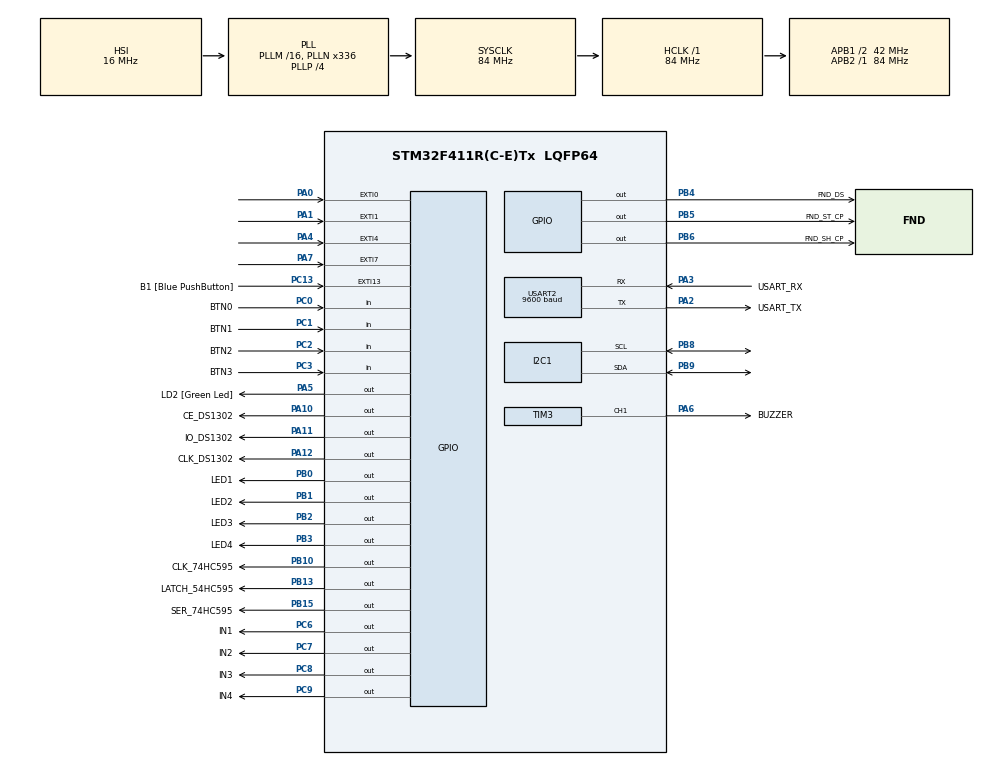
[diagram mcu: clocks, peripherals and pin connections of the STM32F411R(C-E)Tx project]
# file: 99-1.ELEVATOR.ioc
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FREERTOS.Tasks01=defaultTask,24,128,StartDefaultTask,Default,NULL,Dynamic,NULL,NULL;myTask02,8,128,StartTask02,Default,NULL,Dynamic,NULL,NULL;myTask03,8,128,StartTask03,Default,NULL,Dynamic,NULL,NULL;myTask04,8,128,StartTask04,Default,NULL,Dynamic,NULL,NULL
FREERTOS.configUSE_NEWLIB_REENTRANT=1
Mcu.Family=STM32F4
Mcu.Name=STM32F411R(C-E)Tx
Mcu.Package=LQFP64
NVIC.EXTI0_IRQn=true\:5\:0\:false\:false\:true\:true\:true\:true
NVIC.EXTI1_IRQn=true\:5\:0\:false\:false\:true\:true\:true\:true
NVIC.EXTI4_IRQn=true\:5\:0\:false\:false\:true\:true\:true\:true
NVIC.EXTI9_5_IRQn=true\:5\:0\:false\:false\:true\:true\:true\:true
NVIC.PriorityGroup=NVIC_PRIORITYGROUP_4
NVIC.TIM1_TRG_COM_TIM11_IRQn=true\:5\:0\:false\:false\:true\:true\:true\:true
NVIC.TIM1_UP_TIM10_IRQn=true\:15\:0\:false\:false\:true\:false\:false\:true
NVIC.TIM3_IRQn=true\:5\:0\:false\:false\:true\:true\:true\:true
NVIC.TIM5_IRQn=true\:5\:0\:false\:false\:true\:true\:true\:true
NVIC.TimeBase=TIM1_UP_TIM10_IRQn
NVIC.TimeBaseIP=TIM10
NVIC.USART2_IRQn=true\:5\:0\:false\:false\:true\:true\:true\:true
PA0-WKUP.Signal=GPXTI0
PA1.Signal=GPXTI1
PA10.GPIO_Label=CE_DS1302
PA10.Signal=GPIO_Output
PA11.GPIO_Label=IO_DS1302
PA11.Signal=GPIO_Output
PA12.GPIO_Label=CLK_DS1302
PA12.Signal=GPIO_Output
PA13.GPIO_Label=TMS
PA13.Mode=Serial_Wire
PA13.Signal=SYS_JTMS-SWDIO
PA14.GPIO_Label=TCK
PA14.Mode=Serial_Wire
PA14.Signal=SYS_JTCK-SWCLK
PA2.GPIO_Label=USART_TX
PA2.Mode=Asynchronous
PA2.Signal=USART2_TX
PA3.GPIO_Label=USART_RX
PA3.Mode=Asynchronous
PA3.Signal=USART2_RX
PA4.Signal=GPXTI4
PA5.GPIO_Label=LD2 [Green Led]
PA5.Signal=GPIO_Output
PA6.GPIO_Label=BUZZER
PA6.Signal=S_TIM3_CH1
PA7.Signal=GPXTI7
PB0.GPIO_Label=LED1
PB0.Signal=GPIO_Output
PB1.GPIO_Label=LED2
PB1.Signal=GPIO_Output
PB10.GPIO_Label=CLK_74HC595
PB10.Signal=GPIO_Output
PB13.GPIO_Label=LATCH_54HC595
PB13.Signal=GPIO_Output
PB15.GPIO_Label=SER_74HC595
PB15.Signal=GPIO_Output
PB2.GPIO_Label=LED3
PB2.Signal=GPIO_Output
PB3.GPIO_Label=LED4
PB3.Signal=GPIO_Output
PB4.GPIO_Label=FND_DS
PB4.Signal=GPIO_Output
PB5.GPIO_Label=FND_ST_CP
PB5.Signal=GPIO_Output
PB6.GPIO_Label=FND_SH_CP
PB6.Signal=GPIO_Output
PB8.Mode=I2C
PB8.Signal=I2C1_SCL
PB9.Mode=I2C
PB9.Signal=I2C1_SDA
PC0.GPIO_Label=BTN0
PC0.Signal=GPIO_Input
PC1.GPIO_Label=BTN1
PC1.Signal=GPIO_Input
PC13-ANTI_TAMP.GPIO_Label=B1 [Blue PushButton]
PC13-ANTI_TAMP.GPIO_ModeDefaultEXTI=GPIO_MODE_IT_FALLING
PC13-ANTI_TAMP.Signal=GPXTI13
PC14-OSC32_IN.Mode=LSE-External-Oscillator
PC14-OSC32_IN.Signal=RCC_OSC32_IN
PC15-OSC32_OUT.Mode=LSE-External-Oscillator
PC15-OSC32_OUT.Signal=RCC_OSC32_OUT
PC2.GPIO_Label=BTN2
PC2.Signal=GPIO_Input
PC3.GPIO_Label=BTN3
PC3.Signal=GPIO_Input
PC6.GPIO_Label=IN1
PC6.Signal=GPIO_Output
PC7.GPIO_Label=IN2
PC7.Signal=GPIO_Output
PC8.GPIO_Label=IN3
PC8.Signal=GPIO_Output
PC9.GPIO_Label=IN4
PC9.Signal=GPIO_Output
PH0\ -\ OSC_IN.Mode=HSE-External-Clock-Source
PH0\ -\ OSC_IN.Signal=RCC_OSC_IN
PH1\ -\ OSC_OUT.Mode=HSE-External-Clock-Source
PH1\ -\ OSC_OUT.Signal=RCC_OSC_OUT
ProjectManager.HeapSize=0x200
ProjectManager.StackSize=0x400
ProjectManager.TargetToolchain=STM32CubeIDE
RCC.48MHZClocksFreq_Value=84000000
RCC.AHBFreq_Value=84000000
RCC.APB1CLKDivider=RCC_HCLK_DIV2
RCC.APB1Freq_Value=42000000
RCC.APB1TimFreq_Value=84000000
RCC.APB2Freq_Value=84000000
RCC.APB2TimFreq_Value=84000000
RCC.CortexFreq_Value=84000000
RCC.FLatency-AdvancedSettings=FLASH_LATENCY_2
RCC.HCLKFreq_Value=84000000
RCC.HSE_VALUE=8000000
RCC.HSI_VALUE=16000000
RCC.PLLN=336
RCC.PLLP=RCC_PLLP_DIV4
RCC.SYSCLKFreq_VALUE=84000000
RCC.SYSCLKSource=RCC_SYSCLKSOURCE_PLLCLK
RCC.VCOOutputFreq_Value=336000000
SH.S_TIM3_CH1.0=TIM3_CH1,PWM Generation1 CH1
TIM11.Period=1000-1
TIM11.Prescaler=84-1
TIM2.Prescaler=84-1
TIM3.Channel-PWM\ Generation1\ CH1=TIM_CHANNEL_1
TIM3.Period=400-1
TIM3.Prescaler=52.5-1
TIM3.Pulse-PWM\ Generation1\ CH1=200-1
TIM5.Period=1000-1
TIM5.Prescaler=1680-1
USART2.BaudRate=9600
USART2.VirtualMode=VM_ASYNC
VP_FREERTOS_VS_CMSIS_V2.Mode=CMSIS_V2
VP_SYS_VS_tim10.Mode=TIM10
VP_TIM11_VS_ClockSourceINT.Mode=Enable_Timer
VP_TIM2_VS_ClockSourceINT.Mode=Internal
VP_TIM3_VS_ClockSourceINT.Mode=Internal
VP_TIM5_VS_ClockSourceINT.Mode=Internal
board=NUCLEO-F411RE

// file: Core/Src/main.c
/* USER CODE BEGIN Header */
/**
  ******************************************************************************
  * @file           : main.c
  * @brief          : Main program body
  ******************************************************************************
  * @attention
  *
  * <h2><center>&copy; Copyright (c) 2025 STMicroelectronics.
  * All rights reserved.</center></h2>
  *
  * This software component is licensed by ST under BSD 3-Clause license,
  * the "License"; You may not use this file except in compliance with the
  * License. You may obtain a copy of the License at:
  *                        opensource.org/licenses/BSD-3-Clause
  *
  ******************************************************************************
  */
/* USER CODE END Header */
#include "main.h"
#include "cmsis_os.h"

/* USER CODE BEGIN Includes */
#include "extern.h"
/* USER CODE END Includes */

I2C_HandleTypeDef hi2c1;

TIM_HandleTypeDef htim2;
TIM_HandleTypeDef htim3;
TIM_HandleTypeDef htim5;
TIM_HandleTypeDef htim11;

UART_HandleTypeDef huart2;

/* Definitions for defaultTask */
osThreadId_t defaultTaskHandle;
const osThreadAttr_t defaultTask_attributes = {
  .name = "defaultTask",
  .stack_size = 128 * 4,
  .priority = (osPriority_t) osPriorityNormal,
};
/* Definitions for myTask02 */
osThreadId_t myTask02Handle;
const osThreadAttr_t myTask02_attributes = {
  .name = "myTask02",
  .stack_size = 128 * 4,
  .priority = (osPriority_t) osPriorityLow,
};
/* Definitions for myTask03 */
osThreadId_t myTask03Handle;
const osThreadAttr_t myTask03_attributes = {
  .name = "myTask03",
  .stack_size = 128 * 4,
  .priority = (osPriority_t) osPriorityLow,
};
/* Definitions for myTask04 */
osThreadId_t myTask04Handle;
const osThreadAttr_t myTask04_attributes = {
  .name = "myTask04",
  .stack_size = 128 * 4,
  .priority = (osPriority_t) osPriorityLow,
};
/* USER CODE BEGIN PV */
uint8_t rx_data;   // uart2 rx byte
volatile int TIM11_1ms_counter=0;
/* USER CODE END PV */

void SystemClock_Config(void);
static void MX_GPIO_Init(void);
static void MX_USART2_UART_Init(void);
static void MX_TIM11_Init(void);
static void MX_TIM2_Init(void);
static void MX_I2C1_Init(void);
static void MX_TIM3_Init(void);
static void MX_TIM5_Init(void);
void StartDefaultTask(void *argument);
void StartTask02(void *argument);
void StartTask03(void *argument);
void StartTask04(void *argument);

/* USER CODE BEGIN 0 */

#ifdef __GNUC__    // Add for printf
/* With GCC, small printf (option LD Linker->Libraries->Small printf
   set to 'Yes') calls __io_putchar() */
#define PUTCHAR_PROTOTYPE int __io_putchar(int ch)
#else
#define PUTCHAR_PROTOTYPE int fputc(int ch, FILE *f)
#endif /* __GNUC__ */
/**
  * @brief  Retargets the C library printf function to the USART.
  * @param  None
  * @retval None
  */
PUTCHAR_PROTOTYPE   // Add for printf
{
  /* Place your implementation of fputc here */
  /* e.g. write a character to the USART3 and Loop until the end of transmission */
  HAL_UART_Transmit(&huart2, (uint8_t *)&ch, 1, 0xFFFF);

  return ch;
}
/* USER CODE END 0 */

int main(void)
{

  /* MCU Configuration--------------------------------------------------------*/

  /* Reset of all peripherals, Initializes the Flash interface and the Systick. */
  HAL_Init();

  /* Configure the system clock */
  SystemClock_Config();

  /* Initialize all configured peripherals */
  MX_GPIO_Init();
  MX_USART2_UART_Init();
  MX_TIM11_Init();
  MX_TIM2_Init();
  MX_I2C1_Init();
  MX_TIM3_Init();
  MX_TIM5_Init();
  /* USER CODE BEGIN 2 */
  i2c_lcd_init();
  HAL_GPIO_WritePin(GPIOB, GPIO_PIN_10 | GPIO_PIN_13 | GPIO_PIN_15, 0);   // 먼�? DATA, CLK, LATCH�??????? 초기?�� ?��?��?��.
  HAL_Delay(10);
  HAL_UART_Receive_IT(&huart2, &rx_data, 1);
  HAL_TIM_Base_Start_IT(&htim11);
  HAL_TIM_Base_Start_IT(&htim2);   // for make delay_us

//---------------------------
  // stepmotor_main();
  // dotmatrix_main();
  // dotmatrix_main_test();
  // led_main();
  // i2c_lcd_main();
  // ds1302_main();
  // servo_motor_main();
//--------------------------
  /* USER CODE END 2 */

  /* Init scheduler */
  osKernelInitialize();

  /* Create the thread(s) */
  /* creation of defaultTask */
  defaultTaskHandle = osThreadNew(StartDefaultTask, NULL, &defaultTask_attributes);

  /* creation of myTask02 */
  myTask02Handle = osThreadNew(StartTask02, NULL, &myTask02_attributes);

  /* creation of myTask03 */
  myTask03Handle = osThreadNew(StartTask03, NULL, &myTask03_attributes);

  /* creation of myTask04 */
  myTask04Handle = osThreadNew(StartTask04, NULL, &myTask04_attributes);

  /* Start scheduler */
  osKernelStart();

  /* We should never get here as control is now taken by the scheduler */
  /* Infinite loop */
  /* USER CODE BEGIN WHILE */
  while (1)
  {
//	  fnd_show_1();
	  //button_led_toggle_test();
	 //buzzer_main();
    /* USER CODE END WHILE */

  }
}

void SystemClock_Config(void)
{
  RCC_OscInitTypeDef RCC_OscInitStruct = {0};
  RCC_ClkInitTypeDef RCC_ClkInitStruct = {0};

  /** Configure the main internal regulator output voltage
  */
  __HAL_RCC_PWR_CLK_ENABLE();
  __HAL_PWR_VOLTAGESCALING_CONFIG(PWR_REGULATOR_VOLTAGE_SCALE1);
  /** Initializes the RCC Oscillators according to the specified parameters
  * in the RCC_OscInitTypeDef structure.
  */
  RCC_OscInitStruct.OscillatorType = RCC_OSCILLATORTYPE_HSI;
  RCC_OscInitStruct.HSIState = RCC_HSI_ON;
  RCC_OscInitStruct.HSICalibrationValue = RCC_HSICALIBRATION_DEFAULT;
  RCC_OscInitStruct.PLL.PLLState = RCC_PLL_ON;
  RCC_OscInitStruct.PLL.PLLSource = RCC_PLLSOURCE_HSI;
  RCC_OscInitStruct.PLL.PLLM = 16;
  RCC_OscInitStruct.PLL.PLLN = 336;
  RCC_OscInitStruct.PLL.PLLP = RCC_PLLP_DIV4;
  RCC_OscInitStruct.PLL.PLLQ = 4;
  if (HAL_RCC_OscConfig(&RCC_OscInitStruct) != HAL_OK)
  {
    Error_Handler();
  }
  /** Initializes the CPU, AHB and APB buses clocks
  */
  RCC_ClkInitStruct.ClockType = RCC_CLOCKTYPE_HCLK|RCC_CLOCKTYPE_SYSCLK
                              |RCC_CLOCKTYPE_PCLK1|RCC_CLOCKTYPE_PCLK2;
  RCC_ClkInitStruct.SYSCLKSource = RCC_SYSCLKSOURCE_PLLCLK;
  RCC_ClkInitStruct.AHBCLKDivider = RCC_SYSCLK_DIV1;
  RCC_ClkInitStruct.APB1CLKDivider = RCC_HCLK_DIV2;
  RCC_ClkInitStruct.APB2CLKDivider = RCC_HCLK_DIV1;

  if (HAL_RCC_ClockConfig(&RCC_ClkInitStruct, FLASH_LATENCY_2) != HAL_OK)
  {
    Error_Handler();
  }
}

static void MX_I2C1_Init(void)
{

  hi2c1.Instance = I2C1;
  hi2c1.Init.ClockSpeed = 100000;
  hi2c1.Init.DutyCycle = I2C_DUTYCYCLE_2;
  hi2c1.Init.OwnAddress1 = 0;
  hi2c1.Init.AddressingMode = I2C_ADDRESSINGMODE_7BIT;
  hi2c1.Init.DualAddressMode = I2C_DUALADDRESS_DISABLE;
  hi2c1.Init.OwnAddress2 = 0;
  hi2c1.Init.GeneralCallMode = I2C_GENERALCALL_DISABLE;
  hi2c1.Init.NoStretchMode = I2C_NOSTRETCH_DISABLE;
  if (HAL_I2C_Init(&hi2c1) != HAL_OK)
  {
    Error_Handler();
  }

}

static void MX_TIM2_Init(void)
{

  TIM_ClockConfigTypeDef sClockSourceConfig = {0};
  TIM_MasterConfigTypeDef sMasterConfig = {0};

  htim2.Instance = TIM2;
  htim2.Init.Prescaler = 84-1;
  htim2.Init.CounterMode = TIM_COUNTERMODE_UP;
  htim2.Init.Period = 4294967295;
  htim2.Init.ClockDivision = TIM_CLOCKDIVISION_DIV1;
  htim2.Init.AutoReloadPreload = TIM_AUTORELOAD_PRELOAD_DISABLE;
  if (HAL_TIM_Base_Init(&htim2) != HAL_OK)
  {
    Error_Handler();
  }
  sClockSourceConfig.ClockSource = TIM_CLOCKSOURCE_INTERNAL;
  if (HAL_TIM_ConfigClockSource(&htim2, &sClockSourceConfig) != HAL_OK)
  {
    Error_Handler();
  }
  sMasterConfig.MasterOutputTrigger = TIM_TRGO_RESET;
  sMasterConfig.MasterSlaveMode = TIM_MASTERSLAVEMODE_DISABLE;
  if (HAL_TIMEx_MasterConfigSynchronization(&htim2, &sMasterConfig) != HAL_OK)
  {
    Error_Handler();
  }

}

static void MX_TIM3_Init(void)
{

  TIM_ClockConfigTypeDef sClockSourceConfig = {0};
  TIM_MasterConfigTypeDef sMasterConfig = {0};
  TIM_OC_InitTypeDef sConfigOC = {0};

  htim3.Instance = TIM3;
  htim3.Init.Prescaler = 52.5-1;
  htim3.Init.CounterMode = TIM_COUNTERMODE_UP;
  htim3.Init.Period = 400-1;
  htim3.Init.ClockDivision = TIM_CLOCKDIVISION_DIV1;
  htim3.Init.AutoReloadPreload = TIM_AUTORELOAD_PRELOAD_DISABLE;
  if (HAL_TIM_Base_Init(&htim3) != HAL_OK)
  {
    Error_Handler();
  }
  sClockSourceConfig.ClockSource = TIM_CLOCKSOURCE_INTERNAL;
  if (HAL_TIM_ConfigClockSource(&htim3, &sClockSourceConfig) != HAL_OK)
  {
    Error_Handler();
  }
  if (HAL_TIM_PWM_Init(&htim3) != HAL_OK)
  {
    Error_Handler();
  }
  sMasterConfig.MasterOutputTrigger = TIM_TRGO_RESET;
  sMasterConfig.MasterSlaveMode = TIM_MASTERSLAVEMODE_DISABLE;
  if (HAL_TIMEx_MasterConfigSynchronization(&htim3, &sMasterConfig) != HAL_OK)
  {
    Error_Handler();
  }
  sConfigOC.OCMode = TIM_OCMODE_PWM1;
  sConfigOC.Pulse = 200-1;
  sConfigOC.OCPolarity = TIM_OCPOLARITY_HIGH;
  sConfigOC.OCFastMode = TIM_OCFAST_DISABLE;
  if (HAL_TIM_PWM_ConfigChannel(&htim3, &sConfigOC, TIM_CHANNEL_1) != HAL_OK)
  {
    Error_Handler();
  }
  HAL_TIM_MspPostInit(&htim3);

}

static void MX_TIM5_Init(void)
{

  TIM_ClockConfigTypeDef sClockSourceConfig = {0};
  TIM_MasterConfigTypeDef sMasterConfig = {0};

  htim5.Instance = TIM5;
  htim5.Init.Prescaler = 1680-1;
  htim5.Init.CounterMode = TIM_COUNTERMODE_UP;
  htim5.Init.Period = 1000-1;
  htim5.Init.ClockDivision = TIM_CLOCKDIVISION_DIV1;
  htim5.Init.AutoReloadPreload = TIM_AUTORELOAD_PRELOAD_DISABLE;
  if (HAL_TIM_Base_Init(&htim5) != HAL_OK)
  {
    Error_Handler();
  }
  sClockSourceConfig.ClockSource = TIM_CLOCKSOURCE_INTERNAL;
  if (HAL_TIM_ConfigClockSource(&htim5, &sClockSourceConfig) != HAL_OK)
  {
    Error_Handler();
  }
  sMasterConfig.MasterOutputTrigger = TIM_TRGO_RESET;
  sMasterConfig.MasterSlaveMode = TIM_MASTERSLAVEMODE_DISABLE;
  if (HAL_TIMEx_MasterConfigSynchronization(&htim5, &sMasterConfig) != HAL_OK)
  {
    Error_Handler();
  }

}

static void MX_TIM11_Init(void)
{

  htim11.Instance = TIM11;
  htim11.Init.Prescaler = 84-1;
  htim11.Init.CounterMode = TIM_COUNTERMODE_UP;
  htim11.Init.Period = 1000-1;
  htim11.Init.ClockDivision = TIM_CLOCKDIVISION_DIV1;
  htim11.Init.AutoReloadPreload = TIM_AUTORELOAD_PRELOAD_DISABLE;
  if (HAL_TIM_Base_Init(&htim11) != HAL_OK)
  {
    Error_Handler();
  }

}

static void MX_USART2_UART_Init(void)
{

  huart2.Instance = USART2;
  huart2.Init.BaudRate = 9600;
  huart2.Init.WordLength = UART_WORDLENGTH_8B;
  huart2.Init.StopBits = UART_STOPBITS_1;
  huart2.Init.Parity = UART_PARITY_NONE;
  huart2.Init.Mode = UART_MODE_TX_RX;
  huart2.Init.HwFlowCtl = UART_HWCONTROL_NONE;
  huart2.Init.OverSampling = UART_OVERSAMPLING_16;
  if (HAL_UART_Init(&huart2) != HAL_OK)
  {
    Error_Handler();
  }

}

static void MX_GPIO_Init(void)
{
  GPIO_InitTypeDef GPIO_InitStruct = {0};

  /* GPIO Ports Clock Enable */
  __HAL_RCC_GPIOC_CLK_ENABLE();
  __HAL_RCC_GPIOH_CLK_ENABLE();
  __HAL_RCC_GPIOA_CLK_ENABLE();
  __HAL_RCC_GPIOB_CLK_ENABLE();

  /*Configure GPIO pin Output Level */
  HAL_GPIO_WritePin(GPIOA, LD2_Pin|CE_DS1302_Pin|IO_DS1302_Pin|CLK_DS1302_Pin, GPIO_PIN_RESET);

  /*Configure GPIO pin Output Level */
  HAL_GPIO_WritePin(GPIOB, LED1_Pin|LED2_Pin|LED3_Pin|CLK_74HC595_Pin
                          |LATCH_54HC595_Pin|SER_74HC595_Pin|LED4_Pin|FND_DS_Pin
                          |FND_ST_CP_Pin|FND_SH_CP_Pin, GPIO_PIN_RESET);

  /*Configure GPIO pin Output Level */
  HAL_GPIO_WritePin(GPIOC, IN1_Pin|IN2_Pin|IN3_Pin|IN4_Pin, GPIO_PIN_RESET);

  /*Configure GPIO pin : B1_Pin */
  GPIO_InitStruct.Pin = B1_Pin;
  GPIO_InitStruct.Mode = GPIO_MODE_IT_FALLING;
  GPIO_InitStruct.Pull = GPIO_NOPULL;
  HAL_GPIO_Init(B1_GPIO_Port, &GPIO_InitStruct);

  /*Configure GPIO pins : BTN0_Pin BTN1_Pin BTN2_Pin BTN3_Pin */
  GPIO_InitStruct.Pin = BTN0_Pin|BTN1_Pin|BTN2_Pin|BTN3_Pin;
  GPIO_InitStruct.Mode = GPIO_MODE_INPUT;
  GPIO_InitStruct.Pull = GPIO_NOPULL;
  HAL_GPIO_Init(GPIOC, &GPIO_InitStruct);

  /*Configure GPIO pins : PA0 PA1 PA4 PA7 */
  GPIO_InitStruct.Pin = GPIO_PIN_0|GPIO_PIN_1|GPIO_PIN_4|GPIO_PIN_7;
  GPIO_InitStruct.Mode = GPIO_MODE_IT_RISING;
  GPIO_InitStruct.Pull = GPIO_NOPULL;
  HAL_GPIO_Init(GPIOA, &GPIO_InitStruct);

  /*Configure GPIO pins : LD2_Pin CE_DS1302_Pin IO_DS1302_Pin CLK_DS1302_Pin */
  GPIO_InitStruct.Pin = LD2_Pin|CE_DS1302_Pin|IO_DS1302_Pin|CLK_DS1302_Pin;
  GPIO_InitStruct.Mode = GPIO_MODE_OUTPUT_PP;
  GPIO_InitStruct.Pull = GPIO_NOPULL;
  GPIO_InitStruct.Speed = GPIO_SPEED_FREQ_LOW;
  HAL_GPIO_Init(GPIOA, &GPIO_InitStruct);

  /*Configure GPIO pins : LED1_Pin LED2_Pin LED3_Pin CLK_74HC595_Pin
                           LATCH_54HC595_Pin SER_74HC595_Pin LED4_Pin FND_DS_Pin
                           FND_ST_CP_Pin FND_SH_CP_Pin */
  GPIO_InitStruct.Pin = LED1_Pin|LED2_Pin|LED3_Pin|CLK_74HC595_Pin
                          |LATCH_54HC595_Pin|SER_74HC595_Pin|LED4_Pin|FND_DS_Pin
                          |FND_ST_CP_Pin|FND_SH_CP_Pin;
  GPIO_InitStruct.Mode = GPIO_MODE_OUTPUT_PP;
  GPIO_InitStruct.Pull = GPIO_NOPULL;
  GPIO_InitStruct.Speed = GPIO_SPEED_FREQ_LOW;
  HAL_GPIO_Init(GPIOB, &GPIO_InitStruct);

  /*Configure GPIO pins : IN1_Pin IN2_Pin IN3_Pin IN4_Pin */
  GPIO_InitStruct.Pin = IN1_Pin|IN2_Pin|IN3_Pin|IN4_Pin;
  GPIO_InitStruct.Mode = GPIO_MODE_OUTPUT_PP;
  GPIO_InitStruct.Pull = GPIO_NOPULL;
  GPIO_InitStruct.Speed = GPIO_SPEED_FREQ_LOW;
  HAL_GPIO_Init(GPIOC, &GPIO_InitStruct);

  /* EXTI interrupt init*/
  HAL_NVIC_SetPriority(EXTI0_IRQn, 5, 0);
  HAL_NVIC_EnableIRQ(EXTI0_IRQn);

  HAL_NVIC_SetPriority(EXTI1_IRQn, 5, 0);
  HAL_NVIC_EnableIRQ(EXTI1_IRQn);

  HAL_NVIC_SetPriority(EXTI4_IRQn, 5, 0);
  HAL_NVIC_EnableIRQ(EXTI4_IRQn);

  HAL_NVIC_SetPriority(EXTI9_5_IRQn, 5, 0);
  HAL_NVIC_EnableIRQ(EXTI9_5_IRQn);

}

void StartDefaultTask(void *argument)
{
  /* USER CODE BEGIN 5 */
  /* Infinite loop */
  for(;;)
  {
	//ds1302_main();
	osDelay(50);
  }
  /* USER CODE END 5 */
}

void StartTask02(void *argument)
{
  /* USER CODE BEGIN StartTask02 */
  /* Infinite loop */
  for(;;)
  {
	  dotmatrix_main();
	  osDelay(1);
  }
  /* USER CODE END StartTask02 */
}

void StartTask03(void *argument)
{
  /* USER CODE BEGIN StartTask03 */
  /* Infinite loop */
  for(;;)
  {
	  loop();
	  osDelay(1);
  }
  /* USER CODE END StartTask03 */
}

void StartTask04(void *argument)
{
  /* USER CODE BEGIN StartTask04 */
  /* Infinite loop */
  for(;;)
  {
	  fnd_display_update();
	  osDelay(1);
  }
  /* USER CODE END StartTask04 */
}

void HAL_TIM_PeriodElapsedCallback(TIM_HandleTypeDef *htim)
{
  if (htim->Instance == TIM10) {
    HAL_IncTick();
  }
  /* USER CODE BEGIN Callback 1 */
  if (htim->Instance == TIM11) {
	  TIM11_1ms_counter++;
  }
  /* USER CODE END Callback 1 */
}

void Error_Handler(void)
{
  __disable_irq();
  while (1)
  {
  }
}

/************************ (C) COPYRIGHT STMicroelectronics *****END OF FILE****/
